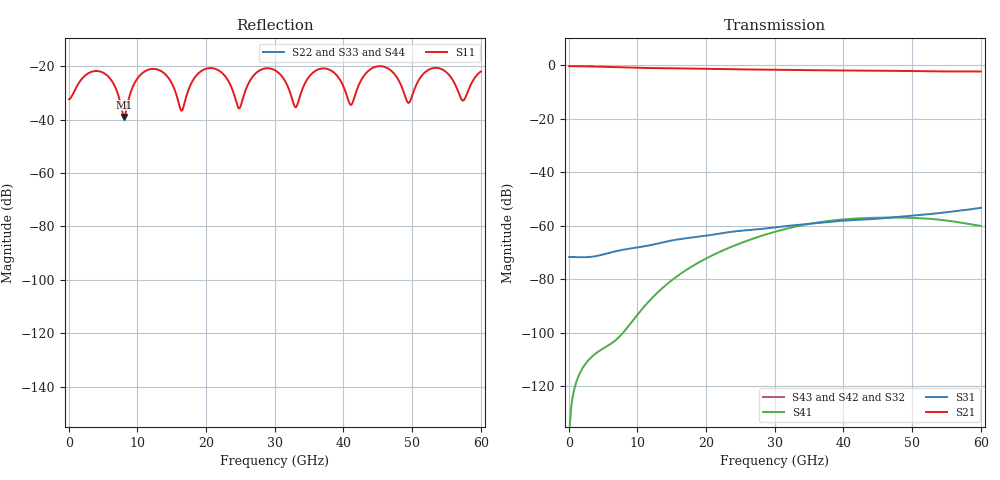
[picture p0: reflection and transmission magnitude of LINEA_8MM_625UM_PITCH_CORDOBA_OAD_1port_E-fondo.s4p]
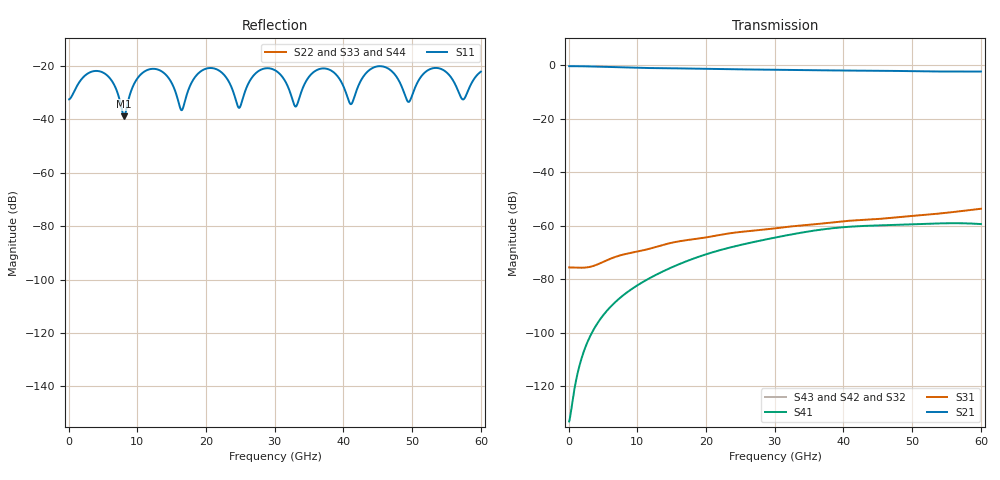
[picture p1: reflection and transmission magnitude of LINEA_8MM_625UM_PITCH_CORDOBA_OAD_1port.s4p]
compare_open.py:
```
"""Widened CORDOBA run with electric Si bottom against the same run with open bottom:
1) S-parameter column 1 (only port 1 was driven in the widened run): S11, S21, NEXT = S31, FEXT = S41.
2) Gap fields point by point: |wide - narrow| / |narrow| on A and B (CPW and slot patterns).
3) EO crosstalk B/A from the fields (50 ohm source and load, push-pull, n_g 2.27)."""
import os, sys
sys.path.insert(0, os.path.abspath(os.path.join(os.path.dirname(__file__), "../../../..")))
import numpy as np, skrf
from mzm_interconnect import parameters as P, xtalk_fields as XF
HERE = os.path.dirname(os.path.abspath(__file__)); NAR = os.path.join(HERE, "../cordoba_8mm_wide")   # reference: open bottom
d = lambda x: 20 * np.log10(np.abs(x) + 1e-30)
nw = skrf.Network(os.path.join(HERE, "LINEA_8MM_625UM_PITCH_CORDOBA_OAD_1port_E-fondo.s4p"))
nn = skrf.Network(os.path.join(NAR, "LINEA_8MM_625UM_PITCH_CORDOBA_OAD_1port.s4p"))
assert np.allclose(nw.f, nn.f)
f = nw.f; w = 2 * np.pi * f
print("columns 2-4 of the electric-bottom s4p, max |S|:", f"{np.abs(nw.s[:, :, 1:]).max():.1e}", "(not computed: only port 1 driven)")
gd = lambda x: -np.gradient(np.unwrap(np.angle(x)), w)
print("\n f GHz |  S11 o/e      |  S21 o/e        |  NEXT o/e       |  FEXT o/e       | |S41e-S41o|/|S41o|")
for g in (1, 2, 5, 10, 15, 20, 25, 30, 35, 40, 45, 50, 55, 60):
    i = np.argmin(abs(f - g * 1e9)); a, b = nn.s[i], nw.s[i]
    print(f" {g:5d} | {d(a[0,0]):6.1f} {d(b[0,0]):6.1f} | {d(a[1,0]):7.3f} {d(b[1,0]):7.3f} | {d(a[2,0]):6.1f} {d(b[2,0]):6.1f} | "
          f"{d(a[3,0]):6.1f} {d(b[3,0]):6.1f} | {abs(b[3,0]-a[3,0])/abs(a[3,0]):.3f}")
sel = (f >= 5e9) & (f <= 50e9)
for k, n in (("open", nn), ("electric", nw)):
    t = [np.median(gd(n.s[:, a, 0])[sel]) * 1e12 for a in (1, 2, 3)]
    print(f"{k:6s}: delay S21 {t[0]:.2f} ps (n_g {t[0]*1e-12*2.99792458e8/8e-3:.4f}), NEXT {t[1]/t[0]:.2f}x, FEXT {t[2]/t[0]:.2f}x")
fn, fw = XF.load_field_dir(NAR), XF.load_field_dir(HERE)
z = fn["z"]; assert np.allclose(z, fw["z"])
inn = (z >= 0.31e-3) & (z <= 7.69e-3)
print("\nGap fields, interior z 0.31-7.69 mm: rms|electric - open| / rms|open|")
print(" f GHz | A CPW   A slot | B CPW   B slot")
for g in fn["f_GHz"]:
    row = f" {g:5.0f} |"
    for L in "AB":
        pn, mn = fn["ports"][g][1][L]; pw, mw = fw["ports"][g][1][L]
        for pat in (lambda p, m: p - m, lambda p, m: p + m):   # CPW: V+ + V- = Ey+ - Ey-; slot: Ey+ + Ey-
            a, b = pat(pn, mn)[inn], pat(pw, mw)[inn]
            row += f" {np.linalg.norm(b - a) / np.linalg.norm(a):6.3f}"
        row += " |"
    print(row)
p = P.defaults(); p["Rt_R"] = 50.0; p["Zs_R"] = 50.0
rn, rw = XF.eo_crosstalk_fields(p, fn), XF.eo_crosstalk_fields(p, fw)
print("\nEO crosstalk B/A from the fields (dB), 50/50 ohm, push-pull, n_g", p["ng"])
print(" f GHz |  open  | elec. | elec. - open")
for i, g in enumerate(rn["f_GHz"]):
    print(f" {g:5.0f} | {d(rn['X'][i]):6.1f} | {d(rw['X'][i]):5.1f} | {d(rw['X'][i]) - d(rn['X'][i]):+5.1f}")
```
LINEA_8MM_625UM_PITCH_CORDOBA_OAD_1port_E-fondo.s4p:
! TOUCHSTONE file generated by CST MICROWAVE STUDIO
! Date and time: Mon Nov  2 09:16:39 2026
! Project name: LINEA_8MM_625UM_PITCH_CORDOBA_OAD_1port_E-fondo.cst
! Parameters = {CHANNEL_PITCH=0.625; GAP=0.00415; L=8; L1=0.02; L2=0.086; L3=0.066; NCELL=1; PITCH=0.18; START_POSITION=0.13; W1=0.003; W2=0.004; W3=0.009; WG=0.04985; gap_oxr=0.00125; linbo3_thickness=0.0002; mtx=0.002; oxiDinE=0.0014; w=0.185; ws=0.035}
! Header version: 2024
! Port assignment regex: !\s*Touchstone port\s*([0-9]+)\s*=\s*(CST MWS port|CST DES external port|CST DES block port)\s*(.+)\s* \(\"(.*)\"\)(\s*mode\s*([0-9]+))?.*
! Touchstone port assignment:
! Touchstone port 1 = CST MWS port 1 ("")
! Touchstone port 2 = CST MWS port 2 ("")
! Touchstone port 3 = CST MWS port 3 ("")
! Touchstone port 4 = CST MWS port 4 ("")
# GHz S MA R 50
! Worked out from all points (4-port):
!   1000 points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, 60 MHz to 60 GHz, reference 50 ohm
!   strongest paths, dB at 60 MHz, 15.06 GHz, 30.06 GHz, 45.06 GHz, 60 GHz:
!     S21: -0.3, -1.1, -1.6, -1.9, -2.2
!     S31: -71.7, -65.5, -60.6, -57.4, -53.3
!     S41: -141.2, -80.3, -62.2, -57.0, -60.1
!     S43: -, -, -, -, -
!     S42: -, -, -, -, -
!     S32: -, -, -, -, -
!   lowest |S11| = -39.0 dB at 8.04 GHz (marker M1), VSWR 1.02, Z = 48.9 - j0.281 ohm
!   |S11| at or under -10 dB: start of sweep to end of sweep
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0.06  0.02398 -5.6  0 0.0  0 0.0  0 0.0
      0.9712 -1.3  0 0.0  0 0.0  0 0.0
      0.0002594 -2.9  0 0.0  0 0.0  0 0.0
      8.689e-08 -133.0  0 0.0  0 0.0  0 0.0
8.04  0.01123 -165.2  0 0.0  0 0.0  0 0.0
      0.9186 -176.2  0 0.0  0 0.0  0 0.0
      0.0003574 -31.1  0 0.0  0 0.0  0 0.0
      1.037e-05 -164.1  0 0.0  0 0.0  0 0.0
60  0.07954 -126.3  0 0.0  0 0.0  0 0.0
    0.7724 151.6  0 0.0  0 0.0  0 0.0
    0.002161 143.7  0 0.0  0 0.0  0 0.0
    0.0009905 71.0  0 0.0  0 0.0  0 0.0
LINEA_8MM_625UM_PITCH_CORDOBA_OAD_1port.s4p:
! TOUCHSTONE file generated by CST MICROWAVE STUDIO
! Date and time: Fri Oct 30 14:48:36 2026
! Project name: LINEA_8MM_625UM_PITCH_CORDOBA_OAD_1port.cst
! Parameters = {CHANNEL_PITCH=0.625; GAP=0.00415; L=8; L1=0.02; L2=0.086; L3=0.066; NCELL=1; PITCH=0.18; START_POSITION=0.13; W1=0.003; W2=0.004; W3=0.009; WG=0.04985; gap_oxr=0.00125; linbo3_thickness=0.0002; mtx=0.002; oxiDinE=0.0014; w=0.185; ws=0.035}
! Header version: 2024
! Port assignment regex: !\s*Touchstone port\s*([0-9]+)\s*=\s*(CST MWS port|CST DES external port|CST DES block port)\s*(.+)\s* \(\"(.*)\"\)(\s*mode\s*([0-9]+))?.*
! Touchstone port assignment:
! Touchstone port 1 = CST MWS port 1 ("")
! Touchstone port 2 = CST MWS port 2 ("")
! Touchstone port 3 = CST MWS port 3 ("")
! Touchstone port 4 = CST MWS port 4 ("")
# GHz S MA R 50
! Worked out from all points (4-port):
!   1000 points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, 60 MHz to 60 GHz, reference 50 ohm
!   strongest paths, dB at 60 MHz, 15.06 GHz, 30.06 GHz, 45.06 GHz, 60 GHz:
!     S21: -0.3, -1.1, -1.6, -2.0, -2.3
!     S31: -75.6, -66.3, -61.0, -57.5, -53.6
!     S41: -133.3, -75.5, -64.4, -59.9, -59.4
!     S43: -, -, -, -, -
!     S42: -, -, -, -, -
!     S32: -, -, -, -, -
!   lowest |S11| = -38.8 dB at 8.04 GHz (marker M1), VSWR 1.02, Z = 48.9 - j0.286 ohm
!   |S11| at or under -10 dB: start of sweep to end of sweep
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0.06  0.02382 -5.6  0 0.0  0 0.0  0 0.0
      0.9712 -1.3  0 0.0  0 0.0  0 0.0
      0.0001656 -3.0  0 0.0  0 0.0  0 0.0
      2.166e-07 4.9  0 0.0  0 0.0  0 0.0
8.04  0.01142 -165.1  0 0.0  0 0.0  0 0.0
      0.9186 -176.2  0 0.0  0 0.0  0 0.0
      0.0002905 -42.8  0 0.0  0 0.0  0 0.0
      5.101e-05 175.2  0 0.0  0 0.0  0 0.0
60  0.07844 -126.6  0 0.0  0 0.0  0 0.0
    0.7706 151.7  0 0.0  0 0.0  0 0.0
    0.002079 148.5  0 0.0  0 0.0  0 0.0
    0.001074 47.8  0 0.0  0 0.0  0 0.0
